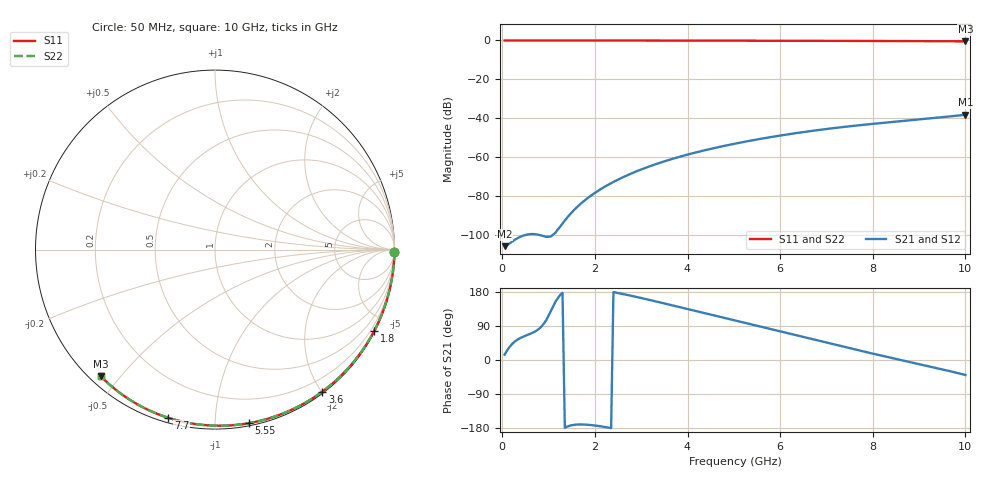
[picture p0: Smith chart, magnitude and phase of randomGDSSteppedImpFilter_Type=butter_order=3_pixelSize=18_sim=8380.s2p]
! freq	dB(S11)	phase(S11)	dB(S12)	phase(S12)
!  dB(S21)	phase(S21)	dB(S22)	phase(S22)
!S-par simulation data
#  GHz  S  DB  R 50
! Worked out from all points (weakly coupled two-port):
!   200 points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, 50 MHz to 10 GHz, reference 50 ohm
!   highest |S21| = -38.27 dB at 10 GHz (marker M1); lowest = -105.9 dB at 50 MHz (marker M2)
!   lowest |S11| = -0.4 dB at 10 GHz (marker M3), VSWR 39.10, Z = 1.53 - j22.2 ohm
!   |S11| at or under -10 dB: nowhere
!   |S22| runs from -0.4 to 0.0 dB; largest |S21 - S12| = 0
!   S11 on the Smith chart (normalised r, x): 50 MHz: open; 1.8 GHz: 0.04, -4.16; 3.6 GHz: 0.02, -2.01; 5.55 GHz: 0.02, -1.21; 7.7 GHz: 0.02, -0.76; 10 GHz: 0.03, -0.44
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0.05  -0.00 -0.8  -105.92 14.1  -105.92 14.1  -0.00 -0.8
0.45  -0.01 -6.9  -100.51 61.4  -100.51 61.4  -0.01 -6.9
0.9  -0.02 -13.7  -100.84 96.6  -100.84 96.6  -0.02 -13.7
1.3  -0.02 -19.6  -94.27 177.3  -94.27 177.3  -0.02 -19.6
1.75  -0.03 -26.3  -82.92 -170.3  -82.92 -170.3  -0.03 -26.3
1.8  -0.03 -27.1  -81.95 -170.5  -81.95 -170.5  -0.03 -27.1
1.9  -0.04 -28.5  -80.15 -171.5  -80.15 -171.5  -0.04 -28.5
2.25  -0.04 -33.6  -74.79 -177.5  -74.79 -177.5  -0.04 -33.7
2.55  -0.05 -38.0  -71.05 175.5  -71.05 175.5  -0.05 -38.0
2.95  -0.06 -43.7  -66.89 165.0  -66.89 165.0  -0.06 -43.8
3.4  -0.07 -50.1  -63.01 152.2  -63.01 152.2  -0.07 -50.1
3.6  -0.07 -52.9  -61.50 146.3  -61.50 146.3  -0.07 -52.9
3.9  -0.08 -57.1  -59.42 137.5  -59.42 137.5  -0.08 -57.1
4.3  -0.09 -62.5  -56.95 125.7  -56.95 125.7  -0.09 -62.5
5.05  -0.11 -72.5  -53.02 103.6  -53.02 103.6  -0.11 -72.5
5.55  -0.13 -79.0  -50.78 88.9  -50.78 88.9  -0.13 -79.0
6.1  -0.15 -86.0  -48.59 72.6  -48.59 72.6  -0.15 -86.0
6.7  -0.18 -93.4  -46.51 54.8  -46.51 54.8  -0.18 -93.5
7.7  -0.24 -105.5  -43.68 25.4  -43.68 25.4  -0.24 -105.5
8.35  -0.29 -113.1  -42.13 7.0  -42.13 7.0  -0.29 -113.1
9.15  -0.36 -122.3  -40.32 -15.0  -40.32 -15.0  -0.36 -122.4
10  -0.44 -132.0  -38.27 -39.5  -38.27 -39.5  -0.44 -132.1
